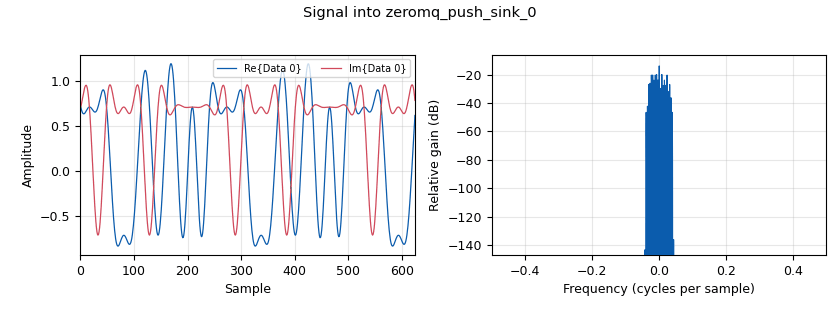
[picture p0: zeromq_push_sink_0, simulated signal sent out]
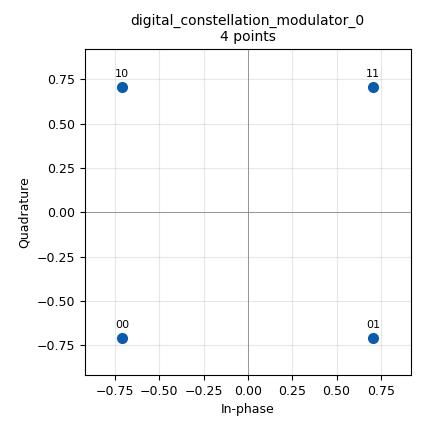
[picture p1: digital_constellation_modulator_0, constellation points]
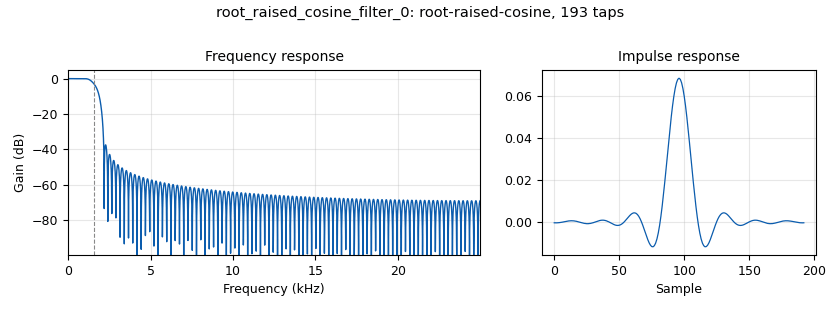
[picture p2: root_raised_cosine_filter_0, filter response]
options:
  parameters:
    author: sdr
    generate_options: qt_gui
    id: HLS_QPSK_Modulator
    output_language: python
    title: Not titled yet
  states: {}

blocks:
- name: QPSK_Constellation
  id: variable_constellation_rect
  parameters:
    const_points: '[-1-1j, 1-1j,- 1+1j, 1+1j]'
    imag_sect: '2'
    real_sect: '2'
    rot_sym: '4'
    sym_map: '[0, 1, 2, 3]'
    w_imag_sect: '1'
    w_real_sect: '1'
  states: {}
- name: samp_rate
  id: variable
  parameters:
    value: 50e3
  states: {}
- name: analog_random_source_x_0
  id: analog_random_source_x
  parameters:
    max: '3'
    min: '0'
    num_samps: '1000'
    repeat: 'True'
    type: byte
  states: {state: disabled}
- name: blocks_throttle2_0
  id: blocks_throttle2
  parameters:
    samples_per_second: samp_rate
    type: complex
  states: {}
- name: digital_constellation_modulator_0
  id: digital_constellation_modulator
  parameters:
    constellation: QPSK_Constellation
    differential: 'False'
    excess_bw: '0.35'
    samples_per_symbol: '16'
  states: {}
- name: epy_block_0
  id: epy_block
  parameters:
    _source_code: |
      """
      """

      import numpy as np
      from gnuradio import gr


      class blk(gr.sync_block):  # other base classes are basic_block, decim_block, interp_block
          """0xDEADBEEF Generator"""

          def __init__(self):  # only default arguments here
              """arguments to this function show up as parameters in GRC"""
              gr.sync_block.__init__(
                  self,
                  name='0xDEADBEEF Generator',   # will show up in GRC
                  in_sig=None,
                  out_sig=[np.byte]
              )
              self.index = 0
              # if an attribute with the same name as a parameter is found,
              # a callback is registered (properties work, too).
              #self.example_param = example_param

          def work(self, input_items, output_items):
              #if(self.index == 0):
              #    #print("Ind = 0")
              #    self.index += 1
              #    output_items[0][0] = 0xEF
              #elif(self.index == 1):
              #    #print("Ind = 1")
              #    self.index += 1
              #    output_items[0][0] = 0xBE
              #elif(self.index == 2):
              #    #print("Ind = 2")
              #    self.index += 1
              #    output_items[0][0] = 0xAD
              #elif(self.index == 3):
              #    #print("Ind = 3")
              #    self.index = 0
              #    output_items[0][0] = 0xDE
              #print(hex(output_items[0][0]))
              n = bytearray([0xDE, 0xAD, 0xBE, 0xEF])
              #n = n[::-1]
              #n = bytearray([0xEF, 0xBE, 0xAD, 0xDE])
              t = np.tile(n,64)
              output_items[0][:] = t
              #print(t)
              return len(output_items[0])
    maxoutbuf: '256'
    minoutbuf: '256'
  states: {}
- name: qtgui_const_sink_x_0
  id: qtgui_const_sink_x
  parameters:
    grid: 'True'
    size: '1024'
    type: complex
  states: {}
- name: qtgui_number_sink_0
  id: qtgui_number_sink
  parameters:
    graph_type: qtgui.NUM_GRAPH_HORIZ
    type: byte
  states: {state: disabled}
- name: qtgui_time_sink_x_0
  id: qtgui_time_sink_x
  parameters:
    ctrlpanel: 'True'
    grid: 'True'
    nconnections: '2'
    size: '2048'
    srate: samp_rate
    type: complex
    ymax: '10'
    ymin: '-10'
  states: {}
- name: root_raised_cosine_filter_0
  id: root_raised_cosine_filter
  parameters:
    alpha: '0.35'
    decim: '1'
    gain: '1'
    ntaps: '193'
    samp_rate: samp_rate
    sym_rate: samp_rate/16
    type: fir_filter_ccf
  states: {}
- name: zeromq_pull_source_0
  id: zeromq_pull_source
  parameters:
    address: tcp://192.168.1.233:20000
    timeout: '1000'
    type: complex
  states: {}
- name: zeromq_push_sink_0
  id: zeromq_push_sink
  parameters:
    address: tcp://192.168.1.13:10000
    timeout: '1000'
    type: complex
  states: {}

connections:
- [analog_random_source_x_0, '0', digital_constellation_modulator_0, '0']
- [blocks_throttle2_0, '0', qtgui_time_sink_x_0, '0']
- [digital_constellation_modulator_0, '0', root_raised_cosine_filter_0, '0']
- [epy_block_0, '0', digital_constellation_modulator_0, '0']
- [root_raised_cosine_filter_0, '0', blocks_throttle2_0, '0']
- [root_raised_cosine_filter_0, '0', zeromq_push_sink_0, '0']
- [zeromq_pull_source_0, '0', qtgui_const_sink_x_0, '0']
- [zeromq_pull_source_0, '0', qtgui_time_sink_x_0, '1']

metadata:
  file_format: 1
  grc_version: 3.10.9.2
